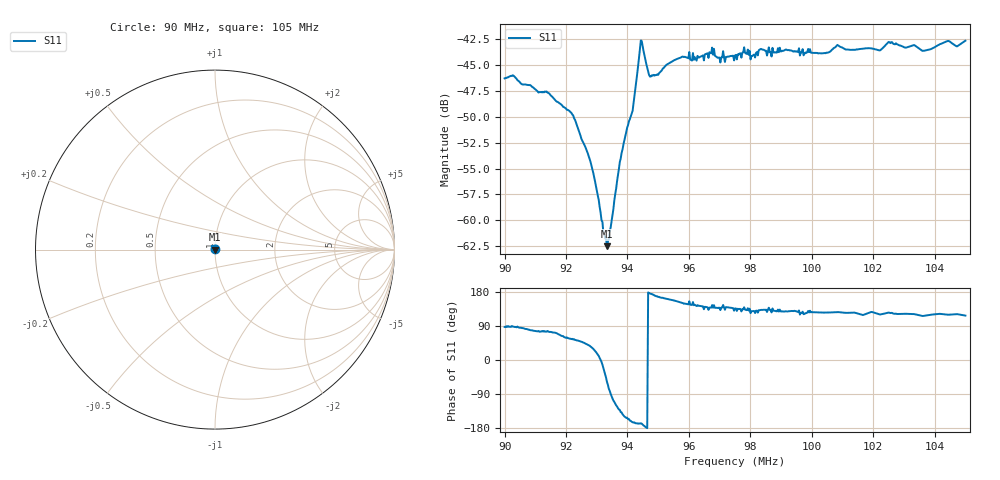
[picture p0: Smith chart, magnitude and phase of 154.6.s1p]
# HZ S RI R 50
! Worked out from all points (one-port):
!   505 points, 90 MHz to 105 MHz, reference 50 ohm
!   lowest |S11| = -62.5 dB at 93.33 MHz (marker M1), VSWR 1.00, Z = 50 - j0.0637 ohm
!   |S11| at or under -10 dB: start of sweep to end of sweep
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9e7  0.000233 0.00485
9.029762e7  0.00018 0.00499
9.139881e7  0.000961 0.00403
9.187501e7  0.00163 0.0032
9.223215e7  0.00188 0.00261
9.27381e7  0.00159 0.00128
9.294644e7  0.00141 0.000615
9.327382e7  0.000647 -0.000498
9.333334e7  0.000395 -0.000637
9.345239e7  1.22e-05 -0.000923
9.375001e7  -0.00127 -0.00143
9.416668e7  -0.00325 -0.000919
9.443454e7  -0.00722 -0.00165
9.449406e7  -0.00685 -0.00114
9.467263e7  -0.00525 0.000153
9.476192e7  -0.00494 0.000468
9.562502e7  -0.00545 0.00259
9.675597e7  -0.0056 0.00392
9.696431e7  -0.00453 0.00411
9.750002e7  -0.00451 0.00435
9.836312e7  -0.00453 0.00497
9.937503e7  -0.00415 0.00509
1.0125e8  -0.00379 0.00549
1.022024e8  -0.00336 0.00571
1.025596e8  -0.00399 0.00597
1.03125e8  -0.00361 0.00584
1.036608e8  -0.00297 0.0059
1.05e8  -0.00337 0.00657
